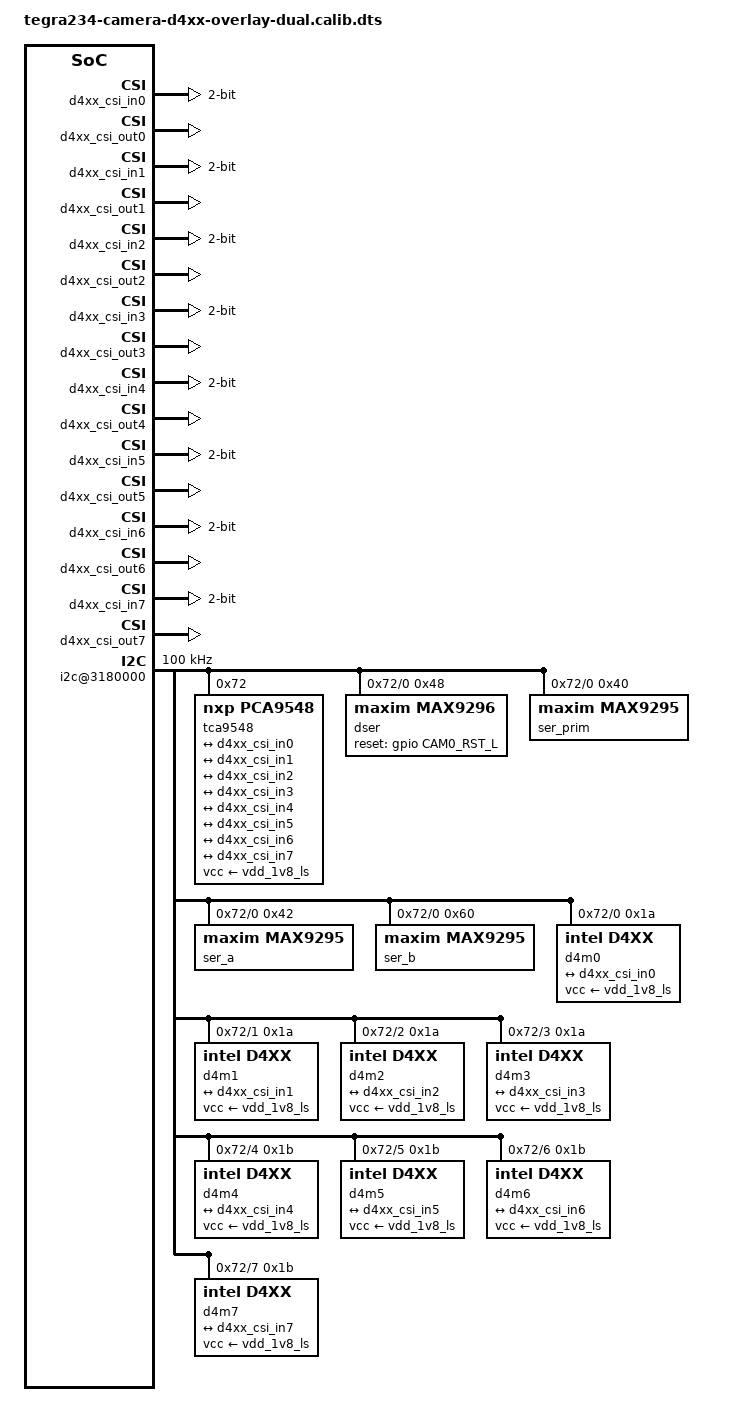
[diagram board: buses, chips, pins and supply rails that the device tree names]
// SPDX-License-Identifier: GPL-2.0-only
// SPDX-FileCopyrightText: Copyright (c) 2018-2023, INTEL CORPORATION.  All rights reserved.

/dts-v1/;
/plugin/;

#include <dt-bindings/clock/tegra234-clock.h>
#include <dt-bindings/gpio/tegra234-gpio.h>
#include <dt-bindings/tegra234-p3737-0000+p3701-0000.h>

#define CAM0_RST_L	TEGRA234_MAIN_GPIO(H, 3)
#define CAMERA_I2C_MUX_BUS(x) (0x1E + x)

/* camera control gpio definitions */
/ {
	overlay-name = "Jetson RealSense Camera D457 dual";
	jetson-header-name = "Jetson AGX CSI Connector";
	compatible = JETSON_COMPATIBLE;

	fragment@0 {
		target-path = "/";
		__overlay__ {
			tegra-capture-vi {
				num-channels = <8>;
				ports {
					status = "okay";
					port@0 {
						status = "okay";
						reg = <0>;
						d4xx_vi_in0: endpoint {
							status = "okay";
							vc-id = <0>;
							port-index = <0>;
							bus-width = <2>;
							remote-endpoint = <&d4xx_csi_out0>;
						};
					};
					port@1 {
						status = "okay";
						reg = <1>;
						d4xx_vi_in1: endpoint {
							status = "okay";
							vc-id = <1>;
							port-index = <0>;
							bus-width = <2>;
							remote-endpoint = <&d4xx_csi_out1>;
						};
					};
					port@2 {
						status = "okay";
						reg = <2>;
						d4xx_vi_in2: endpoint {
							status = "okay";
							vc-id = <2>;
							port-index = <0>;
							bus-width = <2>;
							remote-endpoint = <&d4xx_csi_out2>;
						};
					};
					port@3 {
						status = "okay";
						reg = <3>;
						d4xx_vi_in3: endpoint {
							status = "okay";
							vc-id = <3>;
							port-index = <0>;
							bus-width = <2>;
							remote-endpoint = <&d4xx_csi_out3>;
						};
					};
					port@4 {
						status = "okay";
						reg = <4>;
						d4xx_vi_in4: endpoint {
							status = "okay";
							vc-id = <2>;
							port-index = <0>;
							bus-width = <2>;
							remote-endpoint = <&d4xx_csi_out4>;
						};
					};
					port@5 {
						status = "okay";
						reg = <5>;
						d4xx_vi_in5: endpoint {
							status = "okay";
							vc-id = <3>;
							port-index = <0>;
							bus-width = <2>;
							remote-endpoint = <&d4xx_csi_out5>;
						};
					};
					port@6 {
						status = "okay";
						reg = <6>;
						d4xx_vi_in6: endpoint {
							status = "okay";
							vc-id = <0>;
							port-index = <0>;
							bus-width = <2>;
							remote-endpoint = <&d4xx_csi_out6>;
						};
					};
					port@7 {
						status = "okay";
						reg = <7>;
						d4xx_vi_in7: endpoint {
							status = "okay";
							vc-id = <1>;
							port-index = <0>;
							bus-width = <2>;
							remote-endpoint = <&d4xx_csi_out7>;
						};
					};

				};
			};

			bus@0 {
				host1x@13e00000 {
					nvcsi@15a00000 {
						num-channels = <8>;
						channel@0 {
							status = "okay";
							reg = <0>;
							ports {
								status = "okay";
								port@0 {
									status = "okay";
									reg = <0>;
									d4xx_csi_in0: endpoint@0 {
										status = "okay";
										port-index = <0>;
										bus-width = <2>;
										remote-endpoint = <&d4m0_out>;
									};
								};
								port@1 {
									status = "okay";
									reg = <1>;
									d4xx_csi_out0: endpoint@1 {
										status = "okay";
										remote-endpoint = <&d4xx_vi_in0>;
									};
								};
							};
						};
						channel@1 {
							status = "okay";
							reg = <1>;
							ports {
								status = "okay";
								port@0 {
									status = "okay";
									reg = <0>;
									d4xx_csi_in1: endpoint@2 {
										status = "okay";
										port-index = <0>;
										bus-width = <2>;
										remote-endpoint = <&d4m1_out>;
									};
								};
								port@1 {
									status = "okay";
									reg = <1>;
									d4xx_csi_out1: endpoint@3 {
										status = "okay";
										remote-endpoint = <&d4xx_vi_in1>;
									};
								};
							};
						};
						channel@2 {
							status = "okay";
							reg = <2>;
							ports {
								status = "okay";
								port@0 {
									status = "okay";
									reg = <0>;
									d4xx_csi_in2: endpoint@4 {
										status = "okay";
										port-index = <0>;
										bus-width = <2>;
										remote-endpoint = <&d4m2_out>;
									};
								};
								port@1 {
									status = "okay";
									reg = <1>;
									d4xx_csi_out2: endpoint@5 {
										status = "okay";
										remote-endpoint = <&d4xx_vi_in2>;
									};
								};
							};
						};
						channel@3 {
							status = "okay";
							reg = <3>;
							ports {
								status = "okay";
								port@0 {
									status = "okay";
									reg = <0>;
									d4xx_csi_in3: endpoint@6 {
										status = "okay";
										port-index = <0>;
										bus-width = <2>;
										remote-endpoint = <&d4m3_out>;
									};
								};
								port@1 {
									status = "okay";
									reg = <1>;
									d4xx_csi_out3: endpoint@7 {
										status = "okay";
										remote-endpoint = <&d4xx_vi_in3>;
									};
								};
							};
						};
						channel@4 {
							status = "okay";
							reg = <4>;
							ports {
								status = "okay";
								port@0 {
									status = "okay";
									reg = <0>;
									d4xx_csi_in4: endpoint@8 {
										status = "okay";
										port-index = <0>;
										bus-width = <2>;
										remote-endpoint = <&d4m4_out>;
									};
								};
								port@1 {
									status = "okay";
									reg = <1>;
									d4xx_csi_out4: endpoint@9 {
										status = "okay";
										remote-endpoint = <&d4xx_vi_in4>;
									};
								};
							};
						};
						channel@5 {
							status = "okay";
							reg = <5>;
							ports {
								status = "okay";
								port@0 {
									status = "okay";
									reg = <0>;
									d4xx_csi_in5: endpoint@10 {
										status = "okay";
										port-index = <0>;
										bus-width = <2>;
										remote-endpoint = <&d4m5_out>;
									};
								};
								port@1 {
									status = "okay";
									reg = <1>;
									d4xx_csi_out5: endpoint@11 {
										status = "okay";
										remote-endpoint = <&d4xx_vi_in5>;
									};
								};
							};
						};
						channel@6 {
							status = "okay";
							reg = <6>;
							ports {
								status = "okay";
								port@0 {
									status = "okay";
									reg = <0>;
									d4xx_csi_in6: endpoint@12 {
										status = "okay";
										port-index = <0>;
										bus-width = <2>;
										remote-endpoint = <&d4m6_out>;
									};
								};
								port@1 {
									status = "okay";
									reg = <1>;
									d4xx_csi_out6: endpoint@13 {
										status = "okay";
										remote-endpoint = <&d4xx_vi_in6>;
									};
								};
							};
						};
						channel@7 {
							status = "okay";
							reg = <7>;
							ports {
								status = "okay";
								port@0 {
									status = "okay";
									reg = <0>;
									d4xx_csi_in7: endpoint@14 {
										status = "okay";
										port-index = <0>;
										bus-width = <2>;
										remote-endpoint = <&d4m7_out>;
									};
								};
								port@1 {
									status = "okay";
									reg = <1>;
									d4xx_csi_out7: endpoint@15 {
										status = "okay";
										remote-endpoint = <&d4xx_vi_in7>;
									};
								};
							};
						};
					};
				};
				i2c@3180000 {
					clock-frequency = <100000>;
					tca9548@72 {
						status = "okay";
						reg = <0x72>;
						compatible = "nxp,pca9548";
						#address-cells = <1>;
						#size-cells = <0>;
						skip_mux_detect = "yes";
						vcc-supply = <&vdd_1v8_ls>;
						/*vcc-pullup-supply = <&battery_reg>;*/
						force_bus_start = <CAMERA_I2C_MUX_BUS(0)>;
						vcc_lp = "vcc";
						i2c@0 {
							status = "okay";
							reg = <0>;
							i2c-mux,deselect-on-exit;
							#address-cells = <1>;
							#size-cells = <0>;

							dser: max9296@48 {
								status = "okay";
								reg = <0x48>;
								compatible = "maxim,max9296";
								csi-mode = "2x4";
								max-src = <2>;
								reset-gpios = <&gpio CAM0_RST_L GPIO_ACTIVE_HIGH>;
							};

							ser_prim: max9295_prim@40 {
								status = "okay";
								reg = <0x40>;
								compatible = "maxim,max9295";
								is-prim-ser;
							};

							ser_a: max9295_a@42 {
								status = "okay";
								compatible = "maxim,max9295";
								reg = <0x42>;
								maxim,gmsl-dser-device = <&dser>;
							};

							ser_b: max9295_b@60 {
								status = "okay";
								compatible = "maxim,max9295";
								reg = <0x60>;
								maxim,gmsl-dser-device = <&dser>;
							};

							d4m0: d4m@1a {
								status = "okay";
								def-addr = <0x10>;
								reg = <0x1a>;
								compatible = "intel,d4xx";
								use_sensor_mode_id = "true";
								vcc-supply = <&vdd_1v8_ls>;
								cam-type = "Depth";
								nvidia,gmsl-ser-device = <&ser_a>;
								nvidia,gmsl-dser-device = <&dser>;
								ports {
									#address-cells = <1>;
									#size-cells = <0>;

									port@0 {
										reg = <0>;
										d4m0_out: endpoint {
											vc-id = <0>;
											port-index = <0>;
											bus-width = <2>;
											remote-endpoint = <&d4xx_csi_in0>;
										};
									};
								};
								mode0 {
									pixel_t = "grey_y16";
									num_lanes = "2";
									csi_pixel_bit_depth = "16";
									active_w = "1280";
									active_h = "720";
									tegra_sinterface = "serial_a";
									mclk_khz = "24000";
									pix_clk_hz = "74250000";
									line_length = "1280"; /* 2200 */
									embedded_metadata_height = "1";
								};
								gmsl-link {
									src-csi-port = "b";
									dst-csi-port = "a";
									serdes-csi-link = "a";
									csi-mode = "1x4";
									st-vc = <0>;
									vc-id = <0>;
									num-lanes = <2>;
								};
							};
						};

						i2c@1 {
							status = "okay";
							reg = <1>;
							i2c-mux,deselect-on-exit;
							#address-cells = <1>;
							#size-cells = <0>;

							d4m1: d4m@1a {
								status = "okay";
								def-addr = <0x10>;
								reg = <0x1a>;
								compatible = "intel,d4xx";
								use_sensor_mode_id = "true";
								vcc-supply = <&vdd_1v8_ls>;
								cam-type = "RGB";
								nvidia,gmsl-ser-device = <&ser_a>;
								nvidia,gmsl-dser-device = <&dser>;
								ports {
									#address-cells = <1>;
									#size-cells = <0>;

									port@0 {
										reg = <0>;
										d4m1_out: endpoint {
											vc-id = <1>;
											port-index = <1>;
											bus-width = <2>;
											remote-endpoint = <&d4xx_csi_in1>;
										};
									};
								};
								mode0 {
									pixel_t = "grey_y16";
									num_lanes = "2";
									csi_pixel_bit_depth = "16";
									active_w = "1920";
									active_h = "1080";
									tegra_sinterface = "serial_e";
									mclk_khz = "24000";
									pix_clk_hz = "74250000";
									line_length = "1280"; /* 2200 */
									embedded_metadata_height = "1";
								};
								gmsl-link {
									src-csi-port = "b";
									dst-csi-port = "a";
									serdes-csi-link = "a";
									csi-mode = "1x4";
									st-vc = <0>;
									vc-id = <1>;
									num-lanes = <2>;
								};
							};
						};
						i2c@2 {
							status = "okay";
							reg = <2>;
							i2c-mux,deselect-on-exit;
							#address-cells = <1>;
							#size-cells = <0>;

							d4m2: d4m@1a {
								status = "okay";
								def-addr = <0x10>;
								reg = <0x1a>;
								compatible = "intel,d4xx";
								use_sensor_mode_id = "true";
								vcc-supply = <&vdd_1v8_ls>;
								cam-type = "Y8";
								nvidia,gmsl-ser-device = <&ser_a>;
								nvidia,gmsl-dser-device = <&dser>;
								ports {
									#address-cells = <1>;
									#size-cells = <0>;

									port@0 {
										reg = <0>;
										d4m2_out: endpoint {
											vc-id = <2>;
											port-index = <2>;
											bus-width = <2>;
											remote-endpoint = <&d4xx_csi_in2>;
										};
									};
								};
								/* mode0: Y8, mode1: depth D16 */
								mode0 {
									pixel_t = "grey_y16";
									num_lanes = "2";
									csi_pixel_bit_depth = "16";
									active_w = "1280";
									active_h = "720";
									tegra_sinterface = "serial_b";
									mclk_khz = "24000";
									pix_clk_hz = "74250000";
									line_length = "1280"; /* 2200 */
									embedded_metadata_height = "0";
								};
								gmsl-link {
									src-csi-port = "b";
									dst-csi-port = "a";
									serdes-csi-link = "a";
									csi-mode = "1x4";
									st-vc = <0>;
									vc-id = <2>;
									num-lanes = <2>;
								};
							};
						};
						i2c@3 {
							status = "okay";
							reg = <3>;
							i2c-mux,deselect-on-exit;
							#address-cells = <1>;
							#size-cells = <0>;

							d4m3: d4m@1a {
								status = "okay";
								def-addr = <0x10>;
								reg = <0x1a>;
								compatible = "intel,d4xx";
								use_sensor_mode_id = "true";
								vcc-supply = <&vdd_1v8_ls>;
								cam-type = "IMU";
								nvidia,gmsl-ser-device = <&ser_a>;
								nvidia,gmsl-dser-device = <&dser>;
								ports {
									#address-cells = <1>;
									#size-cells = <0>;

									port@0 {
										reg = <0>;
										d4m3_out: endpoint {
											vc-id = <3>;
											port-index = <3>;
											bus-width = <2>;
											remote-endpoint = <&d4xx_csi_in3>;
										};
									};
								};
								mode0 {
									pixel_t = "grey_y16";
									num_lanes = "2";
									csi_pixel_bit_depth = "16";
									active_w = "640";
									active_h = "480";
									tegra_sinterface = "serial_b";
									mclk_khz = "24000";
									pix_clk_hz = "74250000";
									line_length = "1280"; /* 2200 */
									embedded_metadata_height = "0";
								};
								gmsl-link {
									src-csi-port = "b";
									dst-csi-port = "a";
									serdes-csi-link = "a";
									csi-mode = "1x4";
									st-vc = <0>;
									vc-id = <3>;
									num-lanes = <2>;
								};
							};
						};
// dual
						i2c@4 {
							status = "okay";
							reg = <4>;
							#address-cells = <0x1>;
							i2c-mux,deselect-on-exit;
							#size-cells = <0x0>;

							d4m4: d4m@1b {
								status = "ok";
								def-addr = <0x10>;
								reg = <0x1b>;
								compatible = "intel,d4xx";
								use_sensor_mode_id = "true";
								vcc-supply = <&vdd_1v8_ls>;
								cam-type = "Depth";
								nvidia,gmsl-ser-device = <&ser_b>;
								nvidia,gmsl-dser-device = <&dser>;
								ports {
									#address-cells = <1>;
									#size-cells = <0>;

									port@0 {
										reg = <0>;
										d4m4_out: endpoint {
											vc-id = <2>;
											port-index = <4>;
											bus-width = <2>;
											remote-endpoint = <&d4xx_csi_in4>;
										};
									};
								};
								mode0 {
									pixel_t = "grey_y16";
									num_lanes = "2";
									csi_pixel_bit_depth = "16";
									active_w = "1280";
									active_h = "720";
									tegra_sinterface = "serial_a";
									mclk_khz = "24000";
									pix_clk_hz = "74250000";
									line_length = "1280"; /* 2200 */
									embedded_metadata_height = "1";
								};
								gmsl-link {
									src-csi-port = "b";
									dst-csi-port = "a";
									serdes-csi-link = "b";
									csi-mode = "1x4";
									st-vc = <0>;
									vc-id = <2>;
									num-lanes = <2>;
								};
							};
						};

						i2c@5 {
							status = "okay";
							reg = <5>;
							#address-cells = <0x1>;
							i2c-mux,deselect-on-exit;
							#size-cells = <0x0>;

							d4m5: d4m@1b {
								status = "ok";
								def-addr = <0x10>;
								reg = <0x1b>;
								compatible = "intel,d4xx";
								use_sensor_mode_id = "true";
								vcc-supply = <&vdd_1v8_ls>;
								cam-type = "RGB";
								nvidia,gmsl-ser-device = <&ser_b>;
								nvidia,gmsl-dser-device = <&dser>;
								ports {
									#address-cells = <1>;
									#size-cells = <0>;

									port@0 {
										reg = <0>;
										d4m5_out: endpoint {
											vc-id = <3>;
											port-index = <5>;
											bus-width = <2>;
											remote-endpoint = <&d4xx_csi_in5>;
										};
									};
								};
								mode0 {
									pixel_t = "grey_y16";
									num_lanes = "2";
									csi_pixel_bit_depth = "16";
									active_w = "1920";
									active_h = "1080";
									tegra_sinterface = "serial_e";
									mclk_khz = "24000";
									pix_clk_hz = "74250000";
									line_length = "1280"; /* 2200 */
									embedded_metadata_height = "1";
								};
								gmsl-link {
									src-csi-port = "b";
									dst-csi-port = "a";
									serdes-csi-link = "b";
									csi-mode = "1x4";
									st-vc = <0>;
									vc-id = <3>;
									num-lanes = <2>;
								};
							};
						};

						i2c@6 {
							status = "okay";
							reg = <6>;
							#address-cells = <0x1>;
							i2c-mux,deselect-on-exit;
							#size-cells = <0x0>;

							d4m6: d4m@1b {
								status = "ok";
								def-addr = <0x10>;
								reg = <0x1b>;
								compatible = "intel,d4xx";
								use_sensor_mode_id = "true";
								vcc-supply = <&vdd_1v8_ls>;
								cam-type = "Y8";
								nvidia,gmsl-ser-device = <&ser_b>;
								nvidia,gmsl-dser-device = <&dser>;
								ports {
									#address-cells = <1>;
									#size-cells = <0>;

									port@0 {
										reg = <0>;
										d4m6_out: endpoint {
											vc-id = <0>;
											port-index = <6>;
											bus-width = <2>;
											remote-endpoint = <&d4xx_csi_in6>;
										};
									};
								};
								/* mode0: Y8, mode1: depth D16 */
								mode0 {
									pixel_t = "grey_y16";
									num_lanes = "2";
									csi_pixel_bit_depth = "16";
									active_w = "1280";
									active_h = "720";
									tegra_sinterface = "serial_b";
									mclk_khz = "24000";
									pix_clk_hz = "74250000";
									line_length = "1280"; /* 2200 */
									embedded_metadata_height = "0";
								};
								gmsl-link {
									src-csi-port = "b";
									dst-csi-port = "a";
									serdes-csi-link = "b";
									csi-mode = "1x4";
									st-vc = <0>;
									vc-id = <0>;
									num-lanes = <2>;
								};
							};
						};
						i2c@7 {
							status = "okay";
							reg = <7>;
							#address-cells = <0x1>;
							i2c-mux,deselect-on-exit;
							#size-cells = <0x0>;

							d4m7: d4m@1b {
								status = "ok";
								def-addr = <0x10>;
								reg = <0x1b>;
								compatible = "intel,d4xx";
								use_sensor_mode_id = "true";
								vcc-supply = <&vdd_1v8_ls>;
								cam-type = "IMU";
								nvidia,gmsl-ser-device = <&ser_b>;
								nvidia,gmsl-dser-device = <&dser>;
								ports {
									#address-cells = <1>;
									#size-cells = <0>;

									port@0 {
										reg = <0>;
										d4m7_out: endpoint {
											vc-id = <1>;
											port-index = <7>;
											bus-width = <2>;
											remote-endpoint = <&d4xx_csi_in7>;
										};
									};
								};
								mode0 {
									pixel_t = "grey_y16";
									num_lanes = "2";
									csi_pixel_bit_depth = "16";
									active_w = "640";
									active_h = "480";
									tegra_sinterface = "serial_b";
									mclk_khz = "24000";
									pix_clk_hz = "74250000";
									line_length = "1280"; /* 2200 */
									embedded_metadata_height = "0";
								};
								gmsl-link {
									src-csi-port = "b";
									dst-csi-port = "a";
									serdes-csi-link = "b";
									csi-mode = "1x4";
									st-vc = <0>;
									vc-id = <1>;
									num-lanes = <2>;
								};
							};
						};
					};
				};
			};
		};
	};
};
